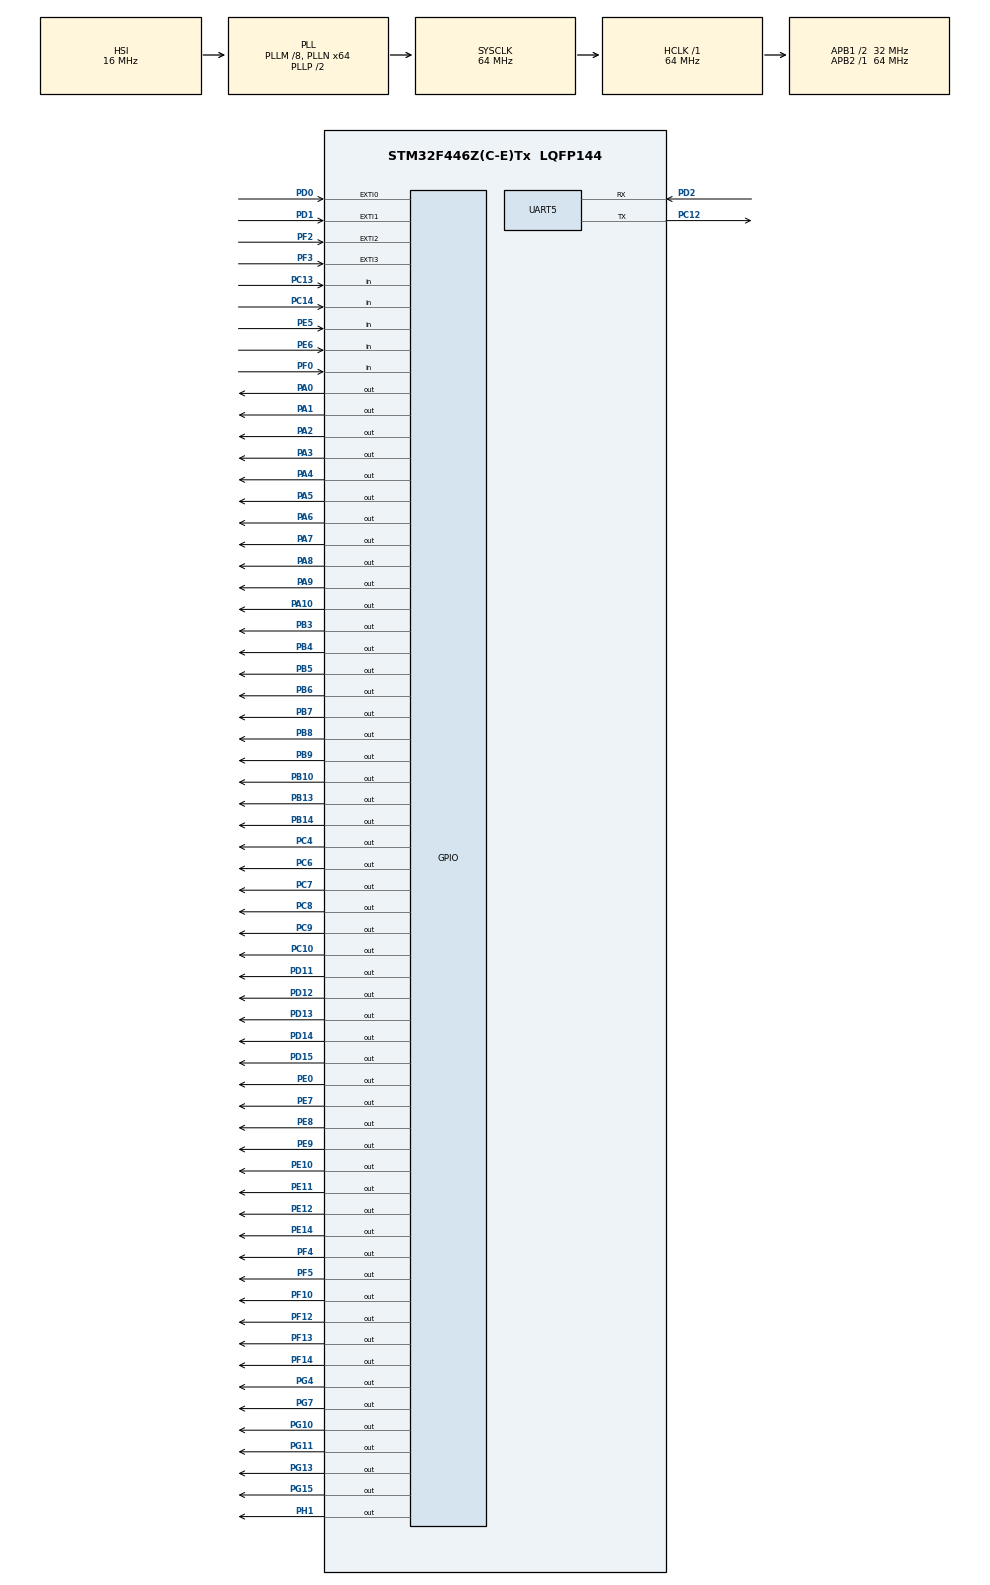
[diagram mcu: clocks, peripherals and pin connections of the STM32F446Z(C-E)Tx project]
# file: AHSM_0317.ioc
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Mcu.Family=STM32F4
Mcu.Name=STM32F446Z(C-E)Tx
Mcu.Package=LQFP144
NVIC.EXTI0_IRQn=true\:0\:0\:false\:false\:true\:true\:true\:true
NVIC.EXTI1_IRQn=true\:0\:0\:false\:false\:true\:true\:true\:true
NVIC.EXTI2_IRQn=true\:0\:0\:false\:false\:true\:true\:true\:true
NVIC.EXTI3_IRQn=true\:0\:0\:false\:false\:true\:true\:true\:true
NVIC.PriorityGroup=NVIC_PRIORITYGROUP_4
NVIC.UART5_IRQn=true\:0\:0\:false\:false\:true\:true\:true\:true
PA0-WKUP.Signal=GPIO_Output
PA1.Signal=GPIO_Output
PA10.Signal=GPIO_Output
PA2.Signal=GPIO_Output
PA3.Signal=GPIO_Output
PA4.Signal=GPIO_Output
PA5.Signal=GPIO_Output
PA6.Signal=GPIO_Output
PA7.Signal=GPIO_Output
PA8.Signal=GPIO_Output
PA9.Signal=GPIO_Output
PB10.Signal=GPIO_Output
PB13.Signal=GPIO_Output
PB14.Signal=GPIO_Output
PB3.Signal=GPIO_Output
PB4.Signal=GPIO_Output
PB5.Signal=GPIO_Output
PB6.Signal=GPIO_Output
PB7.Signal=GPIO_Output
PB8.Signal=GPIO_Output
PB9.Signal=GPIO_Output
PC10.Signal=GPIO_Output
PC12.GPIO_ModeDefaultPP=GPIO_MODE_AF_PP
PC12.GPIO_PuPd=GPIO_NOPULL
PC12.GPIO_Speed=GPIO_SPEED_FREQ_VERY_HIGH
PC12.Mode=Asynchronous
PC12.Signal=UART5_TX
PC13.GPIO_PuPd=GPIO_PULLUP
PC13.Signal=GPIO_Input
PC14-OSC32_IN.GPIO_PuPd=GPIO_PULLUP
PC14-OSC32_IN.Signal=GPIO_Input
PC4.Signal=GPIO_Output
PC6.Signal=GPIO_Output
PC7.Signal=GPIO_Output
PC8.Signal=GPIO_Output
PC9.Signal=GPIO_Output
PD0.GPIO_ModeDefaultEXTI=GPIO_MODE_IT_FALLING
PD0.GPIO_PuPd=GPIO_NOPULL
PD0.Signal=GPXTI0
PD1.GPIO_ModeDefaultEXTI=GPIO_MODE_IT_FALLING
PD1.GPIO_PuPd=GPIO_NOPULL
PD1.Signal=GPXTI1
PD11.Signal=GPIO_Output
PD12.Signal=GPIO_Output
PD13.Signal=GPIO_Output
PD14.Signal=GPIO_Output
PD15.Signal=GPIO_Output
PD2.Mode=Asynchronous
PD2.Signal=UART5_RX
PE0.Signal=GPIO_Output
PE10.Signal=GPIO_Output
PE11.Signal=GPIO_Output
PE12.Signal=GPIO_Output
PE14.Signal=GPIO_Output
PE5.GPIO_PuPd=GPIO_PULLUP
PE5.Signal=GPIO_Input
PE6.GPIO_PuPd=GPIO_PULLUP
PE6.Signal=GPIO_Input
PE7.Signal=GPIO_Output
PE8.Signal=GPIO_Output
PE9.Signal=GPIO_Output
PF0.Signal=GPIO_Input
PF10.Signal=GPIO_Output
PF12.Signal=GPIO_Output
PF13.Signal=GPIO_Output
PF14.Signal=GPIO_Output
PF2.GPIO_ModeDefaultEXTI=GPIO_MODE_IT_FALLING
PF2.GPIO_PuPd=GPIO_NOPULL
PF2.Signal=GPXTI2
PF3.GPIO_ModeDefaultEXTI=GPIO_MODE_IT_FALLING
PF3.GPIO_PuPd=GPIO_NOPULL
PF3.Signal=GPXTI3
PF4.Signal=GPIO_Output
PF5.Signal=GPIO_Output
PG10.Signal=GPIO_Output
PG11.Signal=GPIO_Output
PG13.Signal=GPIO_Output
PG15.Signal=GPIO_Output
PG4.Signal=GPIO_Output
PG7.Signal=GPIO_Output
PH1-OSC_OUT.Signal=GPIO_Output
ProjectManager.HeapSize=0x200
ProjectManager.StackSize=0x400
ProjectManager.TargetToolchain=STM32CubeIDE
RCC.48MHZClocksFreq_Value=24000000
RCC.AHBFreq_Value=64000000
RCC.APB1CLKDivider=RCC_HCLK_DIV2
RCC.APB1Freq_Value=32000000
RCC.APB1TimFreq_Value=64000000
RCC.APB2Freq_Value=64000000
RCC.APB2TimFreq_Value=64000000
RCC.CortexFreq_Value=64000000
RCC.HCLKFreq_Value=64000000
RCC.HSE_VALUE=8000000
RCC.HSI_VALUE=16000000
RCC.LSE_VALUE=32768
RCC.PLLM=8
RCC.PLLMUL=RCC_PLL_MUL9
RCC.PLLN=64
RCC.PRESCALERUSB=RCC_USBCLKSOURCE_PLL_DIV1_5
RCC.SYSCLKFreq_VALUE=64000000
RCC.SYSCLKSource=RCC_SYSCLKSOURCE_PLLCLK
RCC.SYSCLKSourceVirtual=RCC_SYSCLKSOURCE_PLLCLK
RCC.USBFreq_Value=64000000
RCC.VCOOutputFreq_Value=128000000
UART5.VirtualMode=Asynchronous
board=NUCLEO-F446ZE

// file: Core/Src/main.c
/* USER CODE BEGIN Header */
/**
 ******************************************************************************
 * @file           : main.c
 * @brief          : Main program body
 ******************************************************************************
 * @attention
 *
 * Copyright (c) 2025 STMicroelectronics.
 * All rights reserved.
 *
 * This software is licensed under terms that can be found in the LICENSE file
 * in the root directory of this software component.
 * If no LICENSE file comes with this software, it is provided AS-IS.
 *
 ******************************************************************************
 */
/* USER CODE END Header */
#include "main.h"

/* USER CODE BEGIN Includes */
#include <stdlib.h>
#include <stdio.h>
#include <string.h>

#include "stepmotor.h"

/*THIS is AHSM_0317 file*/
/* USER CODE END Includes */

/* USER CODE BEGIN PTD */
#define RX_BUFFER_SIZE 64 //모터 ?��?��?��
uint8_t rx_buffer5[RX_BUFFER_SIZE];
uint8_t rx_data5[RX_BUFFER_SIZE];
uint8_t data_length5 = 0;
uint8_t uart_flag =0;
uint8_t command[20];

#define DEBOUNCE_DELAY 100
/* USER CODE END PTD */

UART_HandleTypeDef huart5;

/* USER CODE BEGIN PV */
// 20250822-phg
int tf = 0;
uint32_t lastTime1 = 0;
uint32_t lastTime2 = 0;
uint32_t lastTime3 = 0;
uint32_t lastTime4 = 0;
uint32_t lastTime5 = 0;
int currentSequence = 0;
int buttonState = 0;
int buttonLastState = 0;
uint32_t pressStartTime = 0;
int pauseState = 0;
int emergencyStop = 0;
int isRunning = 0;
int testflag = 0;
int testflag_hair = 0;

int systemRunning = 0;
int ledSequence = 0;
int sequencePaused = 0;
int flag_01=0;
int flag_C=0;
int hair_detect = 0;
int hair_detect_02=0;
int sequence_01=1;
int sequence_02=1;
int sequence_stop=0;
int sequence_04=0;
int sequence_05=0;

double setlen = 71.256;

int hair=0;
int case_flag_07=0;
int test1 = 0;

int motor2_initialized = 0;
int motor3_initialized = 0;
int dummy_B =0;
int sw_test_01 =0;
int case_01_flag=0;
int caseIntervals1 = 5000;
int caseIntervals2 = 5000;
int caseIntervals3 = 5000;
int caseIntervals4 = 5000;
int caseIntervals5 = 5000;

static int step = 0;
static int step2 = 0;
static int step3 = 0;
static int step4 = 0;
static int step5 = 0;

uint32_t LastTimePE6 = 0;
uint32_t LastTimePC13 = 0;

typedef enum {

	MOTOR_INIT_C,
	MOTOR_INIT_B,

	MOTOR_INIT_DONE
} Motor_Init_State;

Motor_Init_State motorInitState = MOTOR_INIT_C;

StepMotor motor1; //motorA
StepMotor motor2;//motorB
StepMotor motor3;//motorC
StepMotor motor4;//motorD

double motor1_flag = 0;
double motor2_flag = 0;
double motor3_flag = 0;
double motor4_flag = 0;
double hairang = 71;

int Laststate = 0;

/* USER CODE END PV */

void SystemClock_Config(void);
static void MX_GPIO_Init(void);
static void MX_UART5_Init(void);
/* USER CODE BEGIN PFP */
void LED_Sequence_01(void);
void LED_Sequence_02(void);
void LED_Sequence_stop(void);
void LED_Sequence_04(void);

void Emergency_Stop(void);

void Stop_All(void);
void Emergency_Stop(void);
void Resume_Sequence(void);
void Polling_Buttons(void);
void sw_test(void);
void add_port_test(void);
/* USER CODE END PFP */

/* USER CODE BEGIN 0 */
int flagexti = 0;
void HAL_GPIO_EXTI_Callback(uint16_t GPIO_Pin) {
	if (GPIO_Pin == GPIO_PIN_0){
		flagexti++;
		if (motor1_flag == 0){
			motor1.current_angle_step = -19500; // it was -19500 => --9750
			motor1.set_desired_angle(&motor1, 0);
			motor1_flag=-1;

		}
		flag_01++;
	}

	else if (GPIO_Pin == GPIO_PIN_1) {
		if (motor2_flag == 0) {
			motor2.current_angle_step = 0;
			motor2.set_desired_angle(&motor2, 0);
			motor2_flag = -1;
			motor2.step_speed=50;
		}
		//		flagexti++;
	}

	// Motor 3
	else if (GPIO_Pin == GPIO_PIN_2) {
		if (motor3_flag == 0) {
			motor3.current_angle_step = 0;
			motor3.set_desired_angle(&motor3, 0);
			motor3_flag = -1;

			//			if(HAL_GPIO_ReadPin(GPIOD, GPIO_PIN_1)){ //sensor off

			motor2.set_desired_angle(&motor2, 0);
			motor2.current_angle_step = 2400;
			motor2_flag = 0;
			flag_C++;
			//			} else {
			//
			//				motor2.current_angle_step = -200;
			//				motor2_flag =1000;
			//				flag_C=2;
			//			}
		}
		//		flagexti = 3;
	}

	// Motor 4 (
	else if (GPIO_Pin == GPIO_PIN_3) {
		if (motor4_flag == 0) {
			motor4.set_desired_angle(&motor4, 0);
			motor4.current_angle_step = 0;
			motor4_flag = -1;
			//			motor4.step_speed=50;
		}
		//		flagexti = 4;
	}
}
void HAL_UART_RxCpltCallback(UART_HandleTypeDef *huart) {
	//rx_buffer7[0]++;
	if (huart == &huart5) {
		rx_data5[data_length5++] = rx_buffer5[0];
		if (rx_buffer5[0] == '\n' || data_length5 >= RX_BUFFER_SIZE - 1) {
			HAL_UART_Transmit(&huart5, rx_data5, data_length5, HAL_MAX_DELAY);
			rx_data5[data_length5 - 1] = '\0';
			data_length5 = 0;
			uart_flag = 1;
		}

		HAL_UART_Receive_IT(&huart5, rx_buffer5, 1);
		//		flagexti++;
	}
}
void uart_decoder()
{
	if (uart_flag == 1) {
		char *token;
		token = strtok(rx_data5, ",");
		strcpy(command, token);
		if ((token != NULL)) {
			if (strncmp(command, "Bping", 5) == 0) {
				uint8_t print[] = "pong\n";
				HAL_UART_Transmit(&huart5, print, sizeof(print) - 1,
						HAL_MAX_DELAY);
				testflag=12;
			} else if (strncmp(command, "init", 4) == 0) {
				motor_pos_init();

			} else if (strncmp(command, "setlen", 6) == 0) {
				//				testflag=123;
				token = strtok(NULL, ",");
				hairang = atof(token);
				hairang = hairang - 1.0;
			} else if (strncmp(command, "end", 3) == 0) {
				systemRunning = 0;
				isRunning=0;
				solV_blow_OFF();
				solV_9_OFF();
				step=0;
				step2=0;
				step4=0;

			} else if (strncmp(command, "test1", 5) == 0) {
				token = strtok(NULL, ",");
				test1 = atof(token);

			} else if (strncmp(command, "z", 1) == 0) {
				token = strtok(NULL, ",");
				if (atof(token)>500) {
					solV_Grab_ON();
					//					testflag = 10;
					solV_8_ON();
					solV_12_ON();
					solV_16_ON();
					solV_14_ON();
					solV_18_ON();
				} else {
					solV_Grab_OFF();
					//					testflag = 11;
					solV_8_OFF();
					solV_12_OFF();
					solV_16_OFF();
					solV_14_OFF();
					solV_18_OFF();
				}

			} else if (strncmp(command, "01", 2) == 0) {
				solV_1_ON();
			} else if (strncmp(command, "02", 2) == 0) {
				solV_2_ON();
			} else if (strncmp(command, "03", 2) == 0) {
				solV_3_ON();
			} else if (strncmp(command, "04", 2) == 0) {
				solV_4_ON();
			} else if (strncmp(command, "05", 2) == 0) {
				solV_5_ON();
			} else if (strncmp(command, "06", 2) == 0) {
				solV_6_ON();
			} else if (strncmp(command, "07", 2) == 0) {
				solV_7_ON();
			} else if (strncmp(command, "08", 2) == 0) {
				solV_8_ON();
			} else if (strncmp(command, "09", 2) == 0) {
				solV_9_ON();
			} else if (strncmp(command, "10", 2) == 0) {
				solV_10_ON();
			} else if (strncmp(command, "11", 2) == 0) {
				solV_11_ON();
			} else if (strncmp(command, "12", 2) == 0) {
				solV_12_ON();
			} else if (strncmp(command, "13", 2) == 0) {
				solV_13_ON();
			} else if (strncmp(command, "14", 2) == 0) {
				solV_14_ON();
			} else if (strncmp(command, "15", 2) == 0) {
				solV_15_ON();
			} else if (strncmp(command, "16", 2) == 0) {
				solV_16_ON();
			} else if (strncmp(command, "17", 2) == 0) {
				solV_17_ON();
			} else if (strncmp(command, "18", 2) == 0) {
				solV_18_ON();

			} else if (strncmp(command, "Start", 5) == 0) {
				test1 = 0;
				systemRunning = 1;
				isRunning=1;
				solV_16_OFF();
				solV_12_OFF();

			} else if (strncmp(command, "stop", 5) == 0) {
				systemRunning = 0;
				isRunning=0;
				solV_blow_OFF();

			} else if (strncmp(command, "reset", 5) == 0) {
				LED_Sequence_stop();

			} else if (strncmp(command, "force", 5) == 0) {

				solV_16_ON();
				solV_12_ON();

			} else if (strncmp(command, "motors", 6) == 0) {

				uint8_t print[] = "rp go\n";
				HAL_UART_Transmit(&huart5, print, sizeof(print) - 1,
						HAL_MAX_DELAY);

			} else if (strncmp(command, "roll", 4) == 0) {
				token = strtok(NULL, ",");
				uint8_t print[] = "roll go\n";
				HAL_UART_Transmit(&huart5, print, sizeof(print) - 1,
						HAL_MAX_DELAY);
				motor1.set_desired_angle(&motor2, atof(token));
			} else if (strncmp(command, "pitch", 5) == 0) {
				token = strtok(NULL, ",");
				//				step_go_degree(atof(token));
				uint8_t print[] = "pitch go\n";
				HAL_UART_Transmit(&huart5, print, sizeof(print) - 1,
						HAL_MAX_DELAY);
				motor1.set_desired_angle(&motor1, atof(token));
			}
		}
		uart_flag = 0;
	}
}

void Polling_Buttons(void) {
	if (HAL_GPIO_ReadPin(GPIOC, GPIO_PIN_13) == GPIO_PIN_RESET) {
		if (HAL_GetTick() - LastTimePC13 > DEBOUNCE_DELAY){
			LastTimePC13 = HAL_GetTick();

			emergencyStop = 1;
			Stop_All();
			currentSequence = 0;
			systemRunning = 0;
			ledSequence = 1;
			sequencePaused = 0;
		}
	}

	if (HAL_GPIO_ReadPin(GPIOE, GPIO_PIN_6) == GPIO_PIN_RESET) {
		if (HAL_GetTick() - LastTimePE6>DEBOUNCE_DELAY){
			LastTimePE6=HAL_GetTick();
			if (Laststate == 0) {
				Laststate = 1;
				testflag++;
				if (emergencyStop == 0) {
					if (systemRunning == 0) {
						systemRunning = 1;
						isRunning = 1;

					} else if (systemRunning == 1) {
						systemRunning = 0;
						isRunning = 0;
						solV_blow_OFF();
					}
				}
			}

		}
	}
	else {
		if (HAL_GetTick() - LastTimePE6>DEBOUNCE_DELAY){
			LastTimePE6=HAL_GetTick();
			Laststate = 0;

		}
	}
}
void motor_pos_init(void){
	solV_8_ON();
	solV_12_ON();solV_16_ON();
	solV_10_OFF();
	solV_4_OFF();
	solV_5_OFF();
	step=0;
	step2=0;
	//step3=0;
	step4=0;

	motor1.step_speed=5;
	motor2.step_speed=250;
	motor3.step_speed=50;
	motor4.step_speed=250;
	motor1.set_desired_angle(&motor1, 0);
	motor2.set_desired_angle(&motor2, 0);
	motor3.set_desired_angle(&motor3, 0);
	motor4.set_desired_angle(&motor4, 0);
	//-----------MOTOR A initialize--------------------//
	if(HAL_GPIO_ReadPin(GPIOD, GPIO_PIN_0)){ //sensor off
		//		motor1.set_desired_angle(&motor1, -10);
		motor1.current_angle_step = 25000;//25000=>12500
		//HAL_NVIC_EnableIRQ(EXTI0_IRQn);
		motor1_flag = 0;
	} else {
		//		motor1.set_desired_angle(&motor1, 10);
		motor1.current_angle_step = -1000;//-1000=>-500
		motor1_flag =5000;
	}
	//Initialize_Motors_StepByStep();
	//-----------MOTOR C initialize--------------------//

	if(HAL_GPIO_ReadPin(GPIOF, GPIO_PIN_2)){ //sensor off
		//		motor1.set_desired_angle(&motor1, -10);
		motor3.current_angle_step = 1000; //5000=> 500
		//HAL_NVIC_EnableIRQ(EXTI0_IRQn);
		motor3_flag = 0;
	} else {
		//		motor1.set_desired_angle(&motor1, 10);
		motor3.current_angle_step = -1000;//-5000=> -500
		motor3_flag =5000;

	}
	motor2.current_angle_step = -100;
	//-----------MOTOR D initialize--------------------//
	if(HAL_GPIO_ReadPin(GPIOF, GPIO_PIN_3)){ //sensor off
		motor4.current_angle_step = -2400;//4000=> 400
		motor4_flag = 0;
	} else {
		motor4.current_angle_step = 2000;//-4000=> -400
		motor4_flag =10000;
	}
	HAL_Delay(2000);
	solV_12_OFF();solV_16_OFF();solV_9_OFF();
}

void Stop_All(void) {
	HAL_GPIO_WritePin(GPIOA, GPIO_PIN_2 | GPIO_PIN_3 | GPIO_PIN_5 | GPIO_PIN_6 | GPIO_PIN_7 | GPIO_PIN_8 | GPIO_PIN_9 | GPIO_PIN_10, GPIO_PIN_RESET);
	HAL_GPIO_WritePin(GPIOC, GPIO_PIN_7 , GPIO_PIN_RESET);
	HAL_GPIO_WritePin(GPIOB, GPIO_PIN_4 | GPIO_PIN_5 | GPIO_PIN_6 | GPIO_PIN_9, GPIO_PIN_RESET);
	HAL_GPIO_WritePin(GPIOD, GPIO_PIN_12 |GPIO_PIN_11 | GPIO_PIN_13 , GPIO_PIN_RESET);
	HAL_GPIO_WritePin(GPIOE, GPIO_PIN_12 | GPIO_PIN_10 | GPIO_PIN_14, GPIO_PIN_RESET);

	motor1.set_desired_angle(&motor1, 0);
	motor2.set_desired_angle(&motor2, 0);
	motor3.set_desired_angle(&motor3, 0);
	motor4.set_desired_angle(&motor4, 0);
}
/* USER CODE END 0 */

int main(void)
{

	/* USER CODE BEGIN 1 */
	tf=1;
	/* USER CODE END 1 */

	/* MCU Configuration--------------------------------------------------------*/

	/* Reset of all peripherals, Initializes the Flash interface and the Systick. */
	HAL_Init();

	/* Configure the system clock */
	SystemClock_Config();

	/* Initialize all configured peripherals */
	MX_GPIO_Init();
	MX_UART5_Init();
	/* USER CODE BEGIN 2 */
	HAL_UART_Receive_IT(&huart5, rx_buffer5, 1);
	testflag++;
	initStepMotor(&motor1, GPIOG, GPIO_PIN_7,GPIOG, GPIO_PIN_4);
	motor1.deg_step_ratio = 360.0/5000.0;
	//initStepMotor(&motor2, GPIOF, GPIO_PIN_4,GPIOE, GPIO_PIN_8);//original code
	initStepMotor(&motor2, GPIOC, GPIO_PIN_4,GPIOF, GPIO_PIN_5); //changed code(temporal)
	initStepMotor(&motor3, GPIOF, GPIO_PIN_10,GPIOE, GPIO_PIN_7);
	initStepMotor(&motor4, GPIOD, GPIO_PIN_14,GPIOD, GPIO_PIN_15);

	HAL_Delay(500);
	motor_pos_init();
	HAL_NVIC_EnableIRQ(EXTI0_IRQn);
	/* USER CODE END 2 */

	/* Infinite loop */
	/* USER CODE BEGIN WHILE */
	while (1)
	{
		////////////////////////////////TESTING//////////////////////

		//HAL_GPIO_WritePin(GPIOD, GPIO_PIN_11, GPIO_PIN_SET);
		////////////////////////////////////////////////////

		testflag_hair=(HAL_GPIO_ReadPin(GPIOF, GPIO_PIN_0)== GPIO_PIN_SET);
		//		testflag== 2;
		uart_decoder();
		Polling_Buttons();
		motor1.step_while(&motor1);
		motor2.step_while(&motor2);
		motor3.step_while(&motor3);
		motor4.step_while(&motor4);

		//		flagexti = HAL_GPIO_ReadPin(GPIOF, GPIO_PIN_0);

		if(HAL_GPIO_ReadPin(GPIOD, GPIO_PIN_0)){
			if(motor1_flag > 1){
				motor1_flag= motor1_flag -1 ;
			}
			else if (motor1_flag == 1 ) {
				motor1.current_angle_step = 1200;//1200 =>600
				motor1_flag = 0;
			}
		}
		//motor2.step_while(&motor2);
		//		if(HAL_GPIO_ReadPin(GPIOD, GPIO_PIN_1)){
		//			if(motor2_flag > 1){
		//				motor2_flag= motor2_flag - 1 ;
		//			}
		//			else if (motor2_flag == 1 ) {
		//				motor2.current_angle_step = 1500; //5000=> 500
		//				motor2_flag = 0;
		//			}
		//		}
		//motor3.step_while(&motor3);

		if(HAL_GPIO_ReadPin(GPIOF, GPIO_PIN_2)){
			if(motor3_flag > 1){
				motor3_flag= motor3_flag - 1 ;
			}
			else if (motor3_flag == 1 ) {
				motor3.current_angle_step = 1600;//8000=> 800
				motor3_flag = 0;
			}

			//motor4.step_while(&motor4);

		}if(HAL_GPIO_ReadPin(GPIOF, GPIO_PIN_3)){
			if(motor4_flag > 1){
				motor4_flag= motor4_flag - 1 ;

			}
			else if (motor4_flag == 1 ) {
				motor4.current_angle_step = -2000;//5000=> 500
				motor4_flag = 0;

			}
		}

		if (systemRunning == 1 && !emergencyStop) {
			//sw_test();

			LED_Sequence_01();
			LED_Sequence_02();
			LED_Sequence_04();
			//add_port_test();
			//LED_Sequence_stop();
			//LED_Sequence_test();
			if ((HAL_GPIO_ReadPin(GPIOF, GPIO_PIN_0) == GPIO_PIN_SET) && step==6  && test1 ==0)
			{
				hair_detect=1;

			}
			if (step2==13){
				hair_detect=0;
				sequence_01=1;
			}

			/*if (step!=7||step2==13)
	  	{
	  		hair_detect =0;

	  	}
	  	else if(step==7)
	  	{
	  		hair_detect =1; // hair detecting
	  		hair_detect_02 =1;

	  	}*/

		}

		if (emergencyStop) {
			Stop_All();
		}
		/* USER CODE END WHILE */

	}
}

void SystemClock_Config(void)
{
	RCC_OscInitTypeDef RCC_OscInitStruct = {0};
	RCC_ClkInitTypeDef RCC_ClkInitStruct = {0};

	/** Configure the main internal regulator output voltage
	 */
	__HAL_RCC_PWR_CLK_ENABLE();
	__HAL_PWR_VOLTAGESCALING_CONFIG(PWR_REGULATOR_VOLTAGE_SCALE3);

	/** Initializes the RCC Oscillators according to the specified parameters
	 * in the RCC_OscInitTypeDef structure.
	 */
	RCC_OscInitStruct.OscillatorType = RCC_OSCILLATORTYPE_HSI;
	RCC_OscInitStruct.HSIState = RCC_HSI_ON;
	RCC_OscInitStruct.HSICalibrationValue = RCC_HSICALIBRATION_DEFAULT;
	RCC_OscInitStruct.PLL.PLLState = RCC_PLL_ON;
	RCC_OscInitStruct.PLL.PLLSource = RCC_PLLSOURCE_HSI;
	RCC_OscInitStruct.PLL.PLLM = 8;
	RCC_OscInitStruct.PLL.PLLN = 64;
	RCC_OscInitStruct.PLL.PLLP = RCC_PLLP_DIV2;
	RCC_OscInitStruct.PLL.PLLQ = 2;
	RCC_OscInitStruct.PLL.PLLR = 2;
	if (HAL_RCC_OscConfig(&RCC_OscInitStruct) != HAL_OK)
	{
		Error_Handler();
	}

	/** Initializes the CPU, AHB and APB buses clocks
	 */
	RCC_ClkInitStruct.ClockType = RCC_CLOCKTYPE_HCLK|RCC_CLOCKTYPE_SYSCLK
			|RCC_CLOCKTYPE_PCLK1|RCC_CLOCKTYPE_PCLK2;
	RCC_ClkInitStruct.SYSCLKSource = RCC_SYSCLKSOURCE_PLLCLK;
	RCC_ClkInitStruct.AHBCLKDivider = RCC_SYSCLK_DIV1;
	RCC_ClkInitStruct.APB1CLKDivider = RCC_HCLK_DIV2;
	RCC_ClkInitStruct.APB2CLKDivider = RCC_HCLK_DIV1;

	if (HAL_RCC_ClockConfig(&RCC_ClkInitStruct, FLASH_LATENCY_2) != HAL_OK)
	{
		Error_Handler();
	}
}

static void MX_UART5_Init(void)
{

	huart5.Instance = UART5;
	huart5.Init.BaudRate = 115200;
	huart5.Init.WordLength = UART_WORDLENGTH_8B;
	huart5.Init.StopBits = UART_STOPBITS_1;
	huart5.Init.Parity = UART_PARITY_NONE;
	huart5.Init.Mode = UART_MODE_TX_RX;
	huart5.Init.HwFlowCtl = UART_HWCONTROL_NONE;
	huart5.Init.OverSampling = UART_OVERSAMPLING_16;
	if (HAL_UART_Init(&huart5) != HAL_OK)
	{
		Error_Handler();
	}

}

static void MX_GPIO_Init(void)
{
	GPIO_InitTypeDef GPIO_InitStruct = {0};

	/* GPIO Ports Clock Enable */
	__HAL_RCC_GPIOE_CLK_ENABLE();
	__HAL_RCC_GPIOC_CLK_ENABLE();
	__HAL_RCC_GPIOF_CLK_ENABLE();
	__HAL_RCC_GPIOH_CLK_ENABLE();
	__HAL_RCC_GPIOA_CLK_ENABLE();
	__HAL_RCC_GPIOB_CLK_ENABLE();
	__HAL_RCC_GPIOD_CLK_ENABLE();
	__HAL_RCC_GPIOG_CLK_ENABLE();

	/*Configure GPIO pin Output Level */
	HAL_GPIO_WritePin(GPIOF, GPIO_PIN_4|GPIO_PIN_5|GPIO_PIN_10|GPIO_PIN_12
			|GPIO_PIN_13|GPIO_PIN_14, GPIO_PIN_RESET);

	/*Configure GPIO pin Output Level */
	HAL_GPIO_WritePin(GPIOH, GPIO_PIN_1, GPIO_PIN_RESET);

	/*Configure GPIO pin Output Level */
	HAL_GPIO_WritePin(GPIOA, GPIO_PIN_0|GPIO_PIN_1|GPIO_PIN_2|GPIO_PIN_3
			|GPIO_PIN_4|GPIO_PIN_5|GPIO_PIN_6|GPIO_PIN_7
			|GPIO_PIN_8|GPIO_PIN_9|GPIO_PIN_10, GPIO_PIN_RESET);

	/*Configure GPIO pin Output Level */
	HAL_GPIO_WritePin(GPIOC, GPIO_PIN_4|GPIO_PIN_6|GPIO_PIN_7|GPIO_PIN_8
			|GPIO_PIN_9|GPIO_PIN_10, GPIO_PIN_RESET);

	/*Configure GPIO pin Output Level */
	HAL_GPIO_WritePin(GPIOE, GPIO_PIN_7|GPIO_PIN_8|GPIO_PIN_9|GPIO_PIN_10
			|GPIO_PIN_11|GPIO_PIN_12|GPIO_PIN_14|GPIO_PIN_0, GPIO_PIN_RESET);

	/*Configure GPIO pin Output Level */
	HAL_GPIO_WritePin(GPIOB, GPIO_PIN_10|GPIO_PIN_13|GPIO_PIN_14|GPIO_PIN_3
			|GPIO_PIN_4|GPIO_PIN_5|GPIO_PIN_6|GPIO_PIN_7
			|GPIO_PIN_8|GPIO_PIN_9, GPIO_PIN_RESET);

	/*Configure GPIO pin Output Level */
	HAL_GPIO_WritePin(GPIOD, GPIO_PIN_11|GPIO_PIN_12|GPIO_PIN_13|GPIO_PIN_14
			|GPIO_PIN_15, GPIO_PIN_RESET);

	/*Configure GPIO pin Output Level */
	HAL_GPIO_WritePin(GPIOG, GPIO_PIN_4|GPIO_PIN_7|GPIO_PIN_10|GPIO_PIN_11
			|GPIO_PIN_13|GPIO_PIN_15, GPIO_PIN_RESET);

	/*Configure GPIO pins : PE5 PE6 */
	GPIO_InitStruct.Pin = GPIO_PIN_5|GPIO_PIN_6;
	GPIO_InitStruct.Mode = GPIO_MODE_INPUT;
	GPIO_InitStruct.Pull = GPIO_PULLUP;
	HAL_GPIO_Init(GPIOE, &GPIO_InitStruct);

	/*Configure GPIO pins : PC13 PC14 */
	GPIO_InitStruct.Pin = GPIO_PIN_13|GPIO_PIN_14;
	GPIO_InitStruct.Mode = GPIO_MODE_INPUT;
	GPIO_InitStruct.Pull = GPIO_PULLUP;
	HAL_GPIO_Init(GPIOC, &GPIO_InitStruct);

	/*Configure GPIO pin : PF0 */
	GPIO_InitStruct.Pin = GPIO_PIN_0;
	GPIO_InitStruct.Mode = GPIO_MODE_INPUT;
	GPIO_InitStruct.Pull = GPIO_NOPULL;
	HAL_GPIO_Init(GPIOF, &GPIO_InitStruct);

	/*Configure GPIO pins : PF2 PF3 */
	GPIO_InitStruct.Pin = GPIO_PIN_2|GPIO_PIN_3;
	GPIO_InitStruct.Mode = GPIO_MODE_IT_FALLING;
	GPIO_InitStruct.Pull = GPIO_NOPULL;
	HAL_GPIO_Init(GPIOF, &GPIO_InitStruct);

	/*Configure GPIO pins : PF4 PF5 PF10 PF12
                           PF13 PF14 */
	GPIO_InitStruct.Pin = GPIO_PIN_4|GPIO_PIN_5|GPIO_PIN_10|GPIO_PIN_12
			|GPIO_PIN_13|GPIO_PIN_14;
	GPIO_InitStruct.Mode = GPIO_MODE_OUTPUT_PP;
	GPIO_InitStruct.Pull = GPIO_NOPULL;
	GPIO_InitStruct.Speed = GPIO_SPEED_FREQ_LOW;
	HAL_GPIO_Init(GPIOF, &GPIO_InitStruct);

	/*Configure GPIO pin : PH1 */
	GPIO_InitStruct.Pin = GPIO_PIN_1;
	GPIO_InitStruct.Mode = GPIO_MODE_OUTPUT_PP;
	GPIO_InitStruct.Pull = GPIO_NOPULL;
	GPIO_InitStruct.Speed = GPIO_SPEED_FREQ_LOW;
	HAL_GPIO_Init(GPIOH, &GPIO_InitStruct);

	/*Configure GPIO pins : PA0 PA1 PA2 PA3
                           PA4 PA5 PA6 PA7
                           PA8 PA9 PA10 */
	GPIO_InitStruct.Pin = GPIO_PIN_0|GPIO_PIN_1|GPIO_PIN_2|GPIO_PIN_3
			|GPIO_PIN_4|GPIO_PIN_5|GPIO_PIN_6|GPIO_PIN_7
			|GPIO_PIN_8|GPIO_PIN_9|GPIO_PIN_10;
	GPIO_InitStruct.Mode = GPIO_MODE_OUTPUT_PP;
	GPIO_InitStruct.Pull = GPIO_NOPULL;
	GPIO_InitStruct.Speed = GPIO_SPEED_FREQ_LOW;
	HAL_GPIO_Init(GPIOA, &GPIO_InitStruct);

	/*Configure GPIO pins : PC4 PC6 PC7 PC8
                           PC9 PC10 */
	GPIO_InitStruct.Pin = GPIO_PIN_4|GPIO_PIN_6|GPIO_PIN_7|GPIO_PIN_8
			|GPIO_PIN_9|GPIO_PIN_10;
	GPIO_InitStruct.Mode = GPIO_MODE_OUTPUT_PP;
	GPIO_InitStruct.Pull = GPIO_NOPULL;
	GPIO_InitStruct.Speed = GPIO_SPEED_FREQ_LOW;
	HAL_GPIO_Init(GPIOC, &GPIO_InitStruct);

	/*Configure GPIO pins : PE7 PE8 PE9 PE10
                           PE11 PE12 PE14 PE0 */
	GPIO_InitStruct.Pin = GPIO_PIN_7|GPIO_PIN_8|GPIO_PIN_9|GPIO_PIN_10
			|GPIO_PIN_11|GPIO_PIN_12|GPIO_PIN_14|GPIO_PIN_0;
	GPIO_InitStruct.Mode = GPIO_MODE_OUTPUT_PP;
	GPIO_InitStruct.Pull = GPIO_NOPULL;
	GPIO_InitStruct.Speed = GPIO_SPEED_FREQ_LOW;
	HAL_GPIO_Init(GPIOE, &GPIO_InitStruct);

	/*Configure GPIO pins : PB10 PB13 PB14 PB3
                           PB4 PB5 PB6 PB7
                           PB8 PB9 */
	GPIO_InitStruct.Pin = GPIO_PIN_10|GPIO_PIN_13|GPIO_PIN_14|GPIO_PIN_3
			|GPIO_PIN_4|GPIO_PIN_5|GPIO_PIN_6|GPIO_PIN_7
			|GPIO_PIN_8|GPIO_PIN_9;
	GPIO_InitStruct.Mode = GPIO_MODE_OUTPUT_PP;
	GPIO_InitStruct.Pull = GPIO_NOPULL;
	GPIO_InitStruct.Speed = GPIO_SPEED_FREQ_LOW;
	HAL_GPIO_Init(GPIOB, &GPIO_InitStruct);

	/*Configure GPIO pins : PD11 PD12 PD13 PD14
                           PD15 */
	GPIO_InitStruct.Pin = GPIO_PIN_11|GPIO_PIN_12|GPIO_PIN_13|GPIO_PIN_14
			|GPIO_PIN_15;
	GPIO_InitStruct.Mode = GPIO_MODE_OUTPUT_PP;
	GPIO_InitStruct.Pull = GPIO_NOPULL;
	GPIO_InitStruct.Speed = GPIO_SPEED_FREQ_LOW;
	HAL_GPIO_Init(GPIOD, &GPIO_InitStruct);

	/*Configure GPIO pins : PG4 PG7 PG10 PG11
                           PG13 PG15 */
	GPIO_InitStruct.Pin = GPIO_PIN_4|GPIO_PIN_7|GPIO_PIN_10|GPIO_PIN_11
			|GPIO_PIN_13|GPIO_PIN_15;
	GPIO_InitStruct.Mode = GPIO_MODE_OUTPUT_PP;
	GPIO_InitStruct.Pull = GPIO_NOPULL;
	GPIO_InitStruct.Speed = GPIO_SPEED_FREQ_LOW;
	HAL_GPIO_Init(GPIOG, &GPIO_InitStruct);

	/*Configure GPIO pins : PD0 PD1 */
	GPIO_InitStruct.Pin = GPIO_PIN_0|GPIO_PIN_1;
	GPIO_InitStruct.Mode = GPIO_MODE_IT_FALLING;
	GPIO_InitStruct.Pull = GPIO_NOPULL;
	HAL_GPIO_Init(GPIOD, &GPIO_InitStruct);

	/* EXTI interrupt init*/
	HAL_NVIC_SetPriority(EXTI0_IRQn, 0, 0);
	HAL_NVIC_EnableIRQ(EXTI0_IRQn);

	HAL_NVIC_SetPriority(EXTI1_IRQn, 0, 0);
	HAL_NVIC_EnableIRQ(EXTI1_IRQn);

	HAL_NVIC_SetPriority(EXTI2_IRQn, 0, 0);
	HAL_NVIC_EnableIRQ(EXTI2_IRQn);

	HAL_NVIC_SetPriority(EXTI3_IRQn, 0, 0);
	HAL_NVIC_EnableIRQ(EXTI3_IRQn);

}

/* USER CODE BEGIN 4 */
void Emergency_Stop(void)
{
	Stop_All();
	currentSequence = 0;
	isRunning = 0;
}

void LED_Sequence_01(void)
{
	//static int step = 0;
	//	static int caseIntervals1 = 5000;

	if (HAL_GetTick() - lastTime1 >= caseIntervals1 && sequence_01==1)
	{
		lastTime1 = HAL_GetTick();
		motor1.step_speed=1;
		switch (step)
		{
		case 0: // All solV off
			/*HAL_GPIO_WritePin(GPIOA, GPIO_PIN_5 | GPIO_PIN_6 | GPIO_PIN_7 | GPIO_PIN_9, GPIO_PIN_RESET);
			HAL_GPIO_WritePin(GPIOB, GPIO_PIN_6 , GPIO_PIN_RESET);
			HAL_GPIO_WritePin(GPIOC, GPIO_PIN_7 , GPIO_PIN_RESET);
			 */
			solV_5_OFF();
			solV_4_OFF();
			case_01_flag ++;
			caseIntervals1 = 300;
			break;
		case 1:
			motor1.set_desired_angle(&motor1, 00);
			solV_blow_Hair_ON();
			caseIntervals1 = 500;
			break;

		case 2:
			solV_4_ON();
			solV_blow_Hair_OFF();
			caseIntervals1 = 500;
			break;
		case 3: // solV with motor clip on
			solV_5_ON();;
			caseIntervals1 = 500;
			break;
		case 4:
			motor1.set_desired_angle(&motor1, -170);// motor go front

			caseIntervals1 = 3000;
			break;
		case 5:

			caseIntervals1 = 1;
			break;
		case 6:// solV with clip down
			if (hair_detect==1)
			{
				motor1.set_desired_angle(&motor1, -710);// motor go front
			}else
			{
				step=0;
				solV_5_OFF();solV_4_OFF();solV_6_OFF();
				motor1.set_desired_angle(&motor1, 0);
				motor1.step_speed=5;

				caseIntervals1 = 1000;
			}

			caseIntervals1 = 1500;
			break;
		case 7:// clip on #5 GPIO_PIN_12 onI
			solV_6_ON();
			caseIntervals1 = 500;
			break;
		case 8:// solV with limit switch down
			motor1.set_desired_angle(&motor1, -675);// motor go front
			sequence_01=0;
			sequence_02=1;
			caseIntervals1 = 1000;
			break;
		case 9:
			caseIntervals1 = 1;
			break;

		}

		step = (step + 1) % 10;
	}
}

/* LED_Sequence2 Function */
void LED_Sequence_02(void)
{
	if ((HAL_GetTick() - lastTime2) >= caseIntervals2&&sequence_02==1)
	{
		lastTime2 = HAL_GetTick();
		motor2.step_speed=25;
		motor3.step_speed=7;
		motor4.step_speed=40;
		switch (step2)
		{
		case 0:
			//motor4.set_desired_angle(&motor4, 65);

			caseIntervals2 = 10;
		case 1:

			solV_8_ON();
			caseIntervals2 = 500;
			break;
		case 2:

			motor2.set_desired_angle(&motor2, 0);

			motor2.step_speed = 250;

			solV_9_ON();

			if(hair_detect==1)
			{

			}
			else
			{
				sequence_02=0;
			}
			caseIntervals2 = 800;
			break;
		case 3:
			solV_8_OFF();
			solV_11_OFF();
			caseIntervals2 = 800;
			break;

		case 4:
			motor4.step_speed = 250;
			motor4.set_desired_angle(&motor4, 0); //70->0 (25.08.22)
			caseIntervals2 = 100;
			break;
		case 5:
			motor4.step_speed=250;
			caseIntervals2 = 1;
			break;
		case 6:
			motor1.set_desired_angle(&motor1, -710);
			motor1.step_speed=5;
			motor4.step_speed=250;
			caseIntervals2 = 800;
			break;
		case 7:
			solV_7_ON();
			caseIntervals2 = 500;
			motor4.step_speed=250;
			break;
		case 8:
			solV_5_OFF();
			solV_6_OFF();
			solV_4_OFF();

			//hair_detect=0;
			caseIntervals2 = 300;
			break;
		case 9:
			solV_8_ON();

			motor1.set_desired_angle(&motor1, 10);
			motor1.step_speed=1;
			caseIntervals2 = 1000;
			break;
		case 10:
			caseIntervals2 = 1;
			break;
		case 11:
			solV_9_OFF();
			solV_blow_ON();
			motor2.set_desired_angle(&motor2, hairang);
			caseIntervals2 = 900;
			break;
		case 12:
			solV_10_ON();
			caseIntervals2 = 100;
			break;
		case 13:
			solV_8_OFF();
			caseIntervals2 = 600;
			break;// sequence Checked now
		case 14:
			motor3.set_desired_angle(&motor3, 390);
			caseIntervals2 = 800;
			break;
		case 15:
			motor4.set_desired_angle(&motor4, 6); // 76->6 (25.08.22)
			motor4.step_speed=100;
			solV_10_OFF();
			caseIntervals2 = 500;
			break;
		case 16:
			motor2.set_desired_angle(&motor2, hairang+5);
			motor2.step_speed=100;
			caseIntervals2 =400;

			break;
		case 17:
			solV_11_ON();
			caseIntervals2 =300;

			break;
		case 18:

			motor2.set_desired_angle(&motor2, hairang+10);
			motor2.step_speed=100;
			caseIntervals2 =400;
			break;
		case 19:
			motor2.set_desired_angle(&motor2, hairang+5);
			motor2.step_speed=50;
			solV_11_OFF();
			solV_blow_OFF();
			caseIntervals2 = 400;
			break;
		case 20:
			motor4.set_desired_angle(&motor4, -65); // 5->-65 (25.08.22)motor D move 30 deg (80 -> 50)
			motor4.step_speed=100;
			caseIntervals2 = 550;
			break;
		case 21:
			motor2.set_desired_angle(&motor2, hairang-10);
			motor4.set_desired_angle(&motor4, -55); //15->-55(25.08.22)
			caseIntervals2 = 500;
			break;
		case 22:
			motor3.set_desired_angle(&motor3, 460); // motor C cw 60 deg
			caseIntervals2 = 300;
			break;
		case 23:
			motor2.set_desired_angle(&motor2, hairang+10);
			motor2.step_speed=100;
			caseIntervals2 = 300;
			motor3.set_desired_angle(&motor3, 400);//400 degree
			caseIntervals2 = 300;
			break;
		case 24:
			motor2.set_desired_angle(&motor2, hairang-20);
			motor4.set_desired_angle(&motor4, -55); //25->-45(25.08.22)//maximum 58 degree
			caseIntervals2 = 100;
			break;
		case 25:
			solV_8_ON();
			//motor3.set_desired_angle(&motor3, 360);
			caseIntervals2 = 500;
			break;
		case 26:
			solV_15_OFF();
			caseIntervals2 = 80;
			solV_16_ON();
			caseIntervals2 = 80;
			solV_18_ON();
			caseIntervals2 = 100;
			break;
		case 27:
			solV_17_ON();
			caseIntervals2 = 120;
			break;
		case 28:
			solV_18_OFF();
			caseIntervals2 = 300;
			break;
		case 29:
			solV_15_ON();

			solV_7_OFF();

			solV_11_ON();
			caseIntervals2 = 80;
			break;
		case 30:
			solV_16_OFF();
			caseIntervals2 = 80;
			solV_12_ON();
			caseIntervals2 = 80;
			solV_14_ON();
			caseIntervals2 = 80;
			break;
		case 31:
			solV_17_OFF();
			caseIntervals2 = 80;
			break;
		case 32:
			motor3.set_desired_angle(&motor3, 0);
			solV_8_ON();
			caseIntervals2 = 1;
			break;
		case 33:
			//solV_11_OFF();
			caseIntervals2 = 1;
			break;//hair brushing,sorting... head up!

		case 34:
			//motor4.set_desired_angle(&motor4, 70);
			//			motor2.set_desired_angle(&motor2, 0);
			motor2.step_speed = 250;
			motor2.current_angle_step = motor2.current_angle_step+200;
			motor2_flag = 0;
			motor4.step_speed = 250;
			motor4.current_angle_step = motor4.current_angle_step-200;
			motor4_flag = 0;

			sequence_04=1; //brushing sequence start

			caseIntervals2 = 100;
			uint8_t print[] = "next\n";
			HAL_UART_Transmit(&huart5, print, sizeof(print) - 1,
					HAL_MAX_DELAY);

			break;

		}

		step2 = (step2 + 1) % 35;
	}
}
void LED_Sequence_04(void)
{
	//static int step = 0;

	if (HAL_GetTick() - lastTime4 >= caseIntervals4 && sequence_04==1)
	{
		lastTime4 = HAL_GetTick();

		switch (step4)
		{
		case 0:
			solV_9_ON();
			caseIntervals4 = 120;
			break;
		case 1:

			caseIntervals4 = 1;
			break;
		case 2:

			caseIntervals4 = 1;
			break;
		case 3:

			caseIntervals4 = 1;
			break;
		case 4:
			solV_13_ON();
			caseIntervals4 = 80;
			break;
		case 5:

			caseIntervals4 = 1;
			break;
		case 6:
			solV_14_OFF();
			caseIntervals4 = 300;
			break;
		case 7:
			solV_12_OFF();
			caseIntervals4 = 80;
			break;
		case 8:
			solV_13_OFF();
			caseIntervals4 = 80;
			break;
		case 9:

			sequence_04=0;
			caseIntervals4 = 10;
			break;

		}

		step4 = (step4 + 1) % 10;
	}
}

void LED_Sequence_stop(void)
{
	if ((HAL_GetTick() - lastTime3) >= caseIntervals3)
	{
		lastTime3 = HAL_GetTick();
		switch (step3)
		{
		case 0:
			motor4.set_desired_angle(&motor4, 0);
			motor3.set_desired_angle(&motor3, 0);
			motor2.set_desired_angle(&motor2, 45);
			solV_7_OFF();
			solV_blow_OFF();
			caseIntervals3 = 3000;
			break;
		case 1:
			solV_8_ON();
			caseIntervals3 = 3000;
			break;
		case 2:
			solV_4_OFF();solV_5_OFF();solV_6_OFF();solV_7_OFF();
			solV_9_OFF();solV_10_OFF();solV_11_OFF();
			solV_12_OFF();solV_13_OFF();solV_14_OFF();solV_15_OFF();
			solV_16_OFF();solV_17_OFF();solV_18_OFF();

			caseIntervals3 = 2000;
			break;

		}

	}

}

void sw_test(void)
{
	if (HAL_GPIO_ReadPin(GPIOF, GPIO_PIN_0) == GPIO_PIN_SET)
	{
		HAL_Delay(50);
		sw_test_01 ++;
	}
}

void add_port_test(void)
{
	//static int step = 0;
	//	static int caseIntervals1 = 5000;

	if (HAL_GetTick() - lastTime5 >= caseIntervals5 )
	{
		lastTime5 = HAL_GetTick();

		switch (step5)
		{
		case 0: // All solV off
			solV_Grab_OFF();
			solV_blow_ON();
			caseIntervals5 = 500;
			break;
		case 1: // All solV off
			solV_blow_OFF();
			solV_Grab_ON();
			caseIntervals5 = 1000;
			break;
		}

		step5 = (step5 + 1) % 2;
	}
}

//##############Sollenoid Valve Functions###############//
//------------For Hair extraction-----------//
void solV_1_ON(){HAL_GPIO_WritePin(GPIOH, GPIO_PIN_1, GPIO_PIN_SET);}
void solV_1_OFF(){HAL_GPIO_WritePin(GPIOH, GPIO_PIN_1, GPIO_PIN_RESET);}
void solV_2_ON(){HAL_GPIO_WritePin(GPIOH, GPIO_PIN_1, GPIO_PIN_SET);}
void solV_2_OFF(){HAL_GPIO_WritePin(GPIOH, GPIO_PIN_1, GPIO_PIN_RESET);}
void solV_3_ON(){HAL_GPIO_WritePin(GPIOH, GPIO_PIN_1, GPIO_PIN_SET);}
void solV_3_OFF(){HAL_GPIO_WritePin(GPIOH, GPIO_PIN_1, GPIO_PIN_RESET);}
void solV_4_ON(){HAL_GPIO_WritePin(GPIOB, GPIO_PIN_6, GPIO_PIN_SET);}
void solV_4_OFF(){HAL_GPIO_WritePin(GPIOB, GPIO_PIN_6, GPIO_PIN_RESET);}
void solV_5_ON(){HAL_GPIO_WritePin(GPIOA, GPIO_PIN_6, GPIO_PIN_SET);}
void solV_5_OFF(){HAL_GPIO_WritePin(GPIOA, GPIO_PIN_6, GPIO_PIN_RESET);}
void solV_6_ON(){HAL_GPIO_WritePin(GPIOA, GPIO_PIN_5, GPIO_PIN_SET);}
void solV_6_OFF(){HAL_GPIO_WritePin(GPIOA, GPIO_PIN_5, GPIO_PIN_RESET);}

//-----------For Hair Knotting-----------//
void solV_7_ON(){HAL_GPIO_WritePin(GPIOE, GPIO_PIN_12, GPIO_PIN_SET);}
void solV_7_OFF(){HAL_GPIO_WritePin(GPIOE, GPIO_PIN_12, GPIO_PIN_RESET);}
void solV_8_ON(){HAL_GPIO_WritePin(GPIOA, GPIO_PIN_8, GPIO_PIN_SET);}
void solV_8_OFF(){HAL_GPIO_WritePin(GPIOA, GPIO_PIN_8, GPIO_PIN_RESET);}
//void solV_9_ON(){HAL_GPIO_WritePin(GPIOB, GPIO_PIN_10, GPIO_PIN_SET);}
//void solV_9_OFF(){HAL_GPIO_WritePin(GPIOB, GPIO_PIN_10, GPIO_PIN_RESET);}

void solV_9_ON(){HAL_GPIO_WritePin(GPIOE, GPIO_PIN_14, GPIO_PIN_SET);}
void solV_9_OFF(){HAL_GPIO_WritePin(GPIOE, GPIO_PIN_14, GPIO_PIN_RESET);}

void solV_10_ON(){HAL_GPIO_WritePin(GPIOB, GPIO_PIN_4, GPIO_PIN_SET);}
void solV_10_OFF(){HAL_GPIO_WritePin(GPIOB, GPIO_PIN_4, GPIO_PIN_RESET);}
void solV_11_ON(){HAL_GPIO_WritePin(GPIOB, GPIO_PIN_5, GPIO_PIN_SET);}
void solV_11_OFF(){HAL_GPIO_WritePin(GPIOB, GPIO_PIN_5, GPIO_PIN_RESET);}

//-----------For Hair Brushing-----------//
void solV_12_ON(){HAL_GPIO_WritePin(GPIOC, GPIO_PIN_7, GPIO_PIN_SET);}
void solV_12_OFF(){HAL_GPIO_WritePin(GPIOC, GPIO_PIN_7, GPIO_PIN_RESET);}
void solV_13_ON(){HAL_GPIO_WritePin(GPIOE, GPIO_PIN_10, GPIO_PIN_SET);}
void solV_13_OFF(){HAL_GPIO_WritePin(GPIOE, GPIO_PIN_10, GPIO_PIN_RESET);}
void solV_14_ON(){HAL_GPIO_WritePin(GPIOD, GPIO_PIN_12, GPIO_PIN_SET);}
void solV_14_OFF(){HAL_GPIO_WritePin(GPIOD, GPIO_PIN_12, GPIO_PIN_RESET);}
void solV_15_ON(){HAL_GPIO_WritePin(GPIOA, GPIO_PIN_9, GPIO_PIN_SET);}
void solV_15_OFF(){HAL_GPIO_WritePin(GPIOA, GPIO_PIN_9, GPIO_PIN_RESET);}
void solV_16_ON(){HAL_GPIO_WritePin(GPIOA, GPIO_PIN_2, GPIO_PIN_SET);}
void solV_16_OFF(){HAL_GPIO_WritePin(GPIOA, GPIO_PIN_2, GPIO_PIN_RESET);}
void solV_17_ON(){HAL_GPIO_WritePin(GPIOD, GPIO_PIN_13, GPIO_PIN_SET);}
void solV_17_OFF(){HAL_GPIO_WritePin(GPIOD, GPIO_PIN_13, GPIO_PIN_RESET);}
void solV_18_ON(){HAL_GPIO_WritePin(GPIOB, GPIO_PIN_3, GPIO_PIN_SET);}
void solV_18_OFF(){HAL_GPIO_WritePin(GPIOB, GPIO_PIN_3, GPIO_PIN_RESET);}

void solV_blow_ON(){HAL_GPIO_WritePin(GPIOA, GPIO_PIN_3, GPIO_PIN_SET);}
void solV_blow_OFF(){HAL_GPIO_WritePin(GPIOA, GPIO_PIN_3, GPIO_PIN_RESET);}
void solV_blow_Hair_ON(){HAL_GPIO_WritePin(GPIOA, GPIO_PIN_10, GPIO_PIN_SET);}
void solV_blow_Hair_OFF(){HAL_GPIO_WritePin(GPIOA, GPIO_PIN_10, GPIO_PIN_RESET);}

void solV_Grab_ON(){HAL_GPIO_WritePin(GPIOD, GPIO_PIN_11, GPIO_PIN_SET);}
void solV_Grab_OFF(){HAL_GPIO_WritePin(GPIOD, GPIO_PIN_11, GPIO_PIN_RESET);}

/* USER CODE END 4 */

void Error_Handler(void)
{
	__disable_irq();
	while (1)
	{
	}
}
